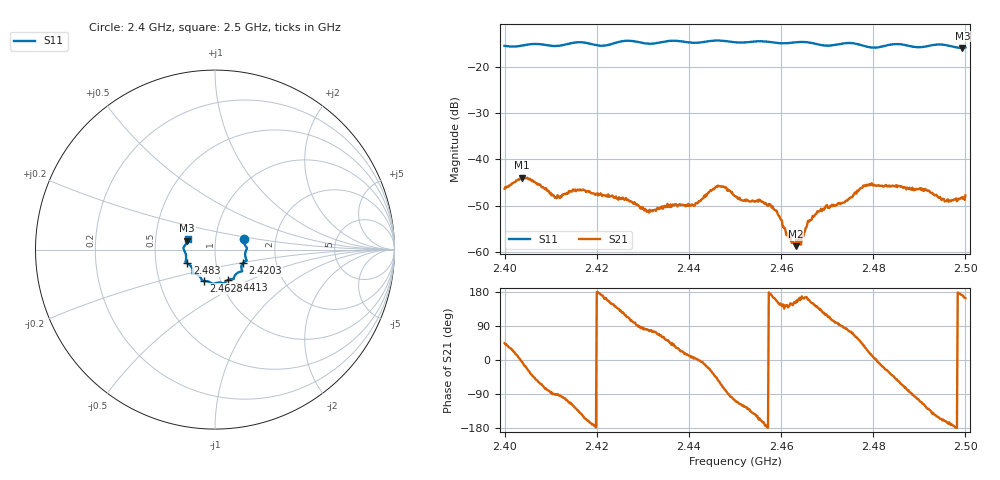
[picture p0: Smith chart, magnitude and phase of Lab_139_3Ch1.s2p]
# Hz S RI R 50
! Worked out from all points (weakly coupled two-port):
!   601 points, 2.4 GHz to 2.5 GHz, reference 50 ohm
!   highest |S21| = -43.92 dB at 2.4037 GHz (marker M1); lowest = -58.8 dB at 2.4632 GHz (marker M2)
!   lowest |S11| = -15.8 dB at 2.4993 GHz (marker M3), VSWR 1.39, Z = 36.5 + j3.71 ohm
!   |S11| at or under -10 dB: start of sweep to end of sweep
!   S12 and S22 are empty: the file has one direction only
!   S11 on the Smith chart (normalised r, x): 2.4 GHz: 1.37, +0.16; 2.4203 GHz: 1.35, -0.21; 2.4413 GHz: 1.09, -0.38; 2.4628 GHz: 0.83, -0.30; 2.483 GHz: 0.72, -0.11; 2.5 GHz: 0.73, +0.09
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2.4e9  0.1605 0.0568  0.00344 0.00336  0 0  0 0
2.403667e9  0.17 0.0204  0.00637 -0.00027  0 0  0 0
2.411333e9  0.1679 -0.0245  -5.7e-05 -0.0038  0 0  0 0
2.416667e9  0.1759 -0.0614  -0.00368 -0.0028  0 0  0 0
2.420333e9  0.1553 -0.0742  -0.00407 0.000123  0 0  0 0
2.430833e9  0.125 -0.1303  0.000442 0.00267  0 0  0 0
2.433333e9  0.1081 -0.1485  0.00114 0.0027  0 0  0 0
2.441333e9  0.0743 -0.1682  0.00323 0.000234  0 0  0 0
2.446167e9  0.0493 -0.1886  0.00319 -0.0039  0 0  0 0
2.45e9  0.0294 -0.184  -0.00116 -0.00381  0 0  0 0
2.457833e9  -0.022 -0.1856  -0.00308 0.000378  0 0  0 0
2.462833e9  -0.063 -0.1744  -0.00109 0.000569  0 0  0 0
2.463167e9  -0.0648 -0.1746  -0.000997 0.000569  0 0  0 0
2.464333e9  -0.0696 -0.1744  -0.00114 0.000346  0 0  0 0
2.466667e9  -0.0743 -0.1674  -0.00193 0.00111  0 0  0 0
2.478167e9  -0.1248 -0.1146  0.00433 0.00294  0 0  0 0
2.483e9  -0.1547 -0.0766  0.00454 -0.0023  0 0  0 0
2.483333e9  -0.157 -0.0756  0.00437 -0.00262  0 0  0 0
2.491667e9  -0.1683 -0.0103  -0.0028 -0.00366  0 0  0 0
2.496e9  -0.1719 0.0165  -0.00347 -0.000907  0 0  0 0
2.499333e9  -0.1543 0.0496  -0.00371 0.000592  0 0  0 0
2.5e9  -0.1528 0.0585  -0.0039 0.00118  0 0  0 0
